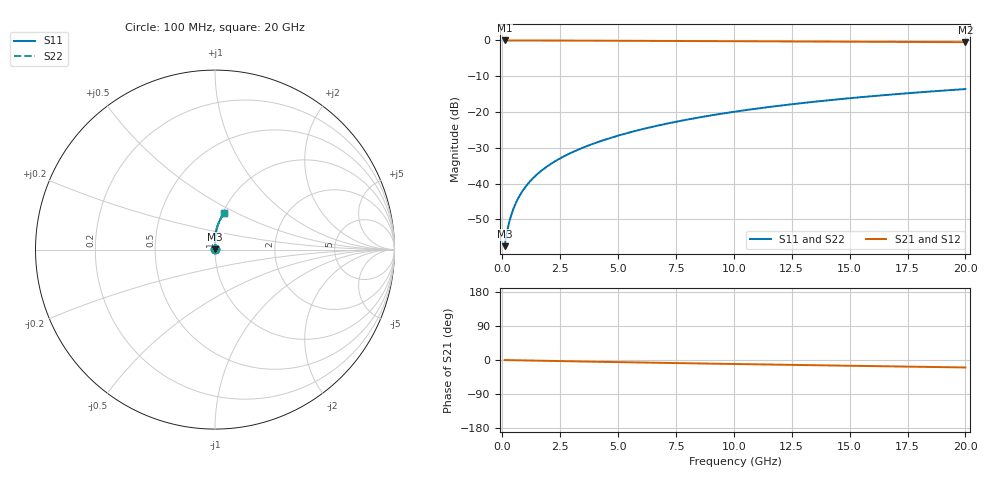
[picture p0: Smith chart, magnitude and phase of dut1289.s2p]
! Touchstone file exported from HFSS 2024.1.0
!  File:  C:/UserFiles/LocalFiles/RDL_TSV_Batchsim/temp_RDL_top_1289_1780242842.aedt
!  Generated:  11:56:20 PM May 31, 2026
!  Design:  RDL_top
!  Project:  temp_RDL_top_1289_1780242842
!  Setup:  Setup1
!  Solution:  Sweep
! Variables:
!  dtsv = 10.80580581um
!  hbump = 3um
!  htsv = 58.2um
!  ldown = 100um
!  lrdl = 253.26um
!  p = 40
!  p1 = 54.18um
!  rhole = 1um
!  t = 450um
!  tdown = 3.915915916um
!  trdl = 4.96um
!  wdown = 15.38538539um
!  wrdl = 23.64um
# GHz S MA R 50.000000
! Terminal data exported
! Port[1] = Box2_T1
! Port[2] = Box2_T2
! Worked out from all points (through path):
!   200 points, 100 MHz to 20 GHz, reference 50 ohm
!   highest |S21| = -0.01 dB at 100 MHz (marker M1); lowest = -0.5 dB at 20 GHz (marker M2)
!   group delay of S21, straight-line fit = 2.7 ps
!   lowest |S11| = -57.5 dB at 100 MHz (marker M3), VSWR 1.00, Z = 50.1 + j0.0966 ohm
!   |S11| at or under -10 dB: start of sweep to end of sweep
!   |S22| runs from -57.5 to -13.6 dB; largest |S21 - S12| = 4.1e-15
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0.1  0.001337 46.1  0.9991 -0.1  0.9991 -0.1  0.001337 46.1
! Gamma 0 0 0 0
! Port Impedance 50 0 50 0
0.2  0.002095 62.2  0.999 -0.2  0.999 -0.2  0.002095 62.2
0.3  0.002908 70.0  0.9989 -0.4  0.9989 -0.4  0.002908 70.0
0.4  0.003749 74.5  0.9988 -0.5  0.9988 -0.5  0.003749 74.5
0.5  0.004607 77.4  0.9988 -0.6  0.9988 -0.6  0.004607 77.4
0.6  0.005475 79.5  0.9987 -0.7  0.9987 -0.7  0.005475 79.5
0.8  0.007229 82.2  0.9985 -0.9  0.9985 -0.9  0.007229 82.2
1.1  0.009884 84.5  0.9983 -1.3  0.9983 -1.3  0.009884 84.5
1.5  0.01346 86.2  0.9978 -1.8  0.9978 -1.8  0.01346 86.2
1.8  0.01616 87.1  0.9973 -2.1  0.9973 -2.1  0.01616 87.1
2.1  0.01888 87.7  0.9968 -2.4  0.9968 -2.4  0.01888 87.7
2.7  0.02439 88.7  0.9957 -3.1  0.9957 -3.1  0.02439 88.7
3.5  0.03193 89.4  0.9938 -4.0  0.9938 -4.0  0.03193 89.4
4.2  0.03873 89.8  0.9919 -4.8  0.9919 -4.8  0.03873 89.8
5  0.04673 89.9  0.9896 -5.6  0.9896 -5.6  0.04673 89.9
6.8  0.06553 89.5  0.9842 -7.4  0.9842 -7.4  0.06553 89.5
8.4  0.08291 88.4  0.9793 -9.0  0.9793 -9.0  0.0829 88.4
10.1  0.1017 86.9  0.9743 -10.6  0.9743 -10.6  0.1017 86.9
11.7  0.1195 85.2  0.9696 -12.2  0.9696 -12.2  0.1195 85.2
13.4  0.1384 83.4  0.9648 -13.7  0.9648 -13.7  0.1384 83.4
16.7  0.1744 79.8  0.9553 -16.7  0.9553 -16.7  0.1743 79.8
20  0.2092 76.2  0.9455 -19.7  0.9455 -19.7  0.2092 76.2
